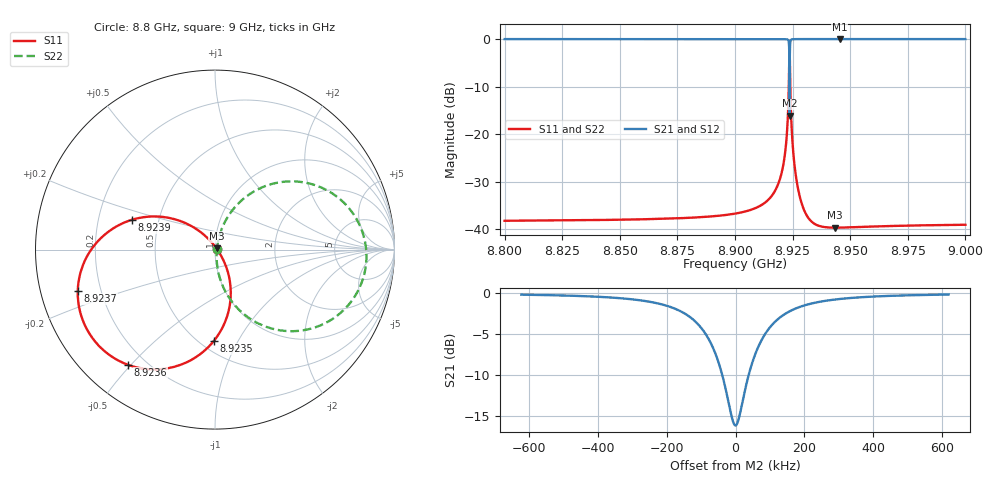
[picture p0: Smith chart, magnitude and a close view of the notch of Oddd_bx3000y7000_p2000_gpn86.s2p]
! Sonnet Data File
! From: emgraph Version : 16.52
! From Project: Resonator2_cp
! Data is De-embedded
! Data File Written: 10/06/2017 13:30:08
!< HDATE 10/06/2017 09:06:26
!< MDATE 10/06/2017 09:06:26
!< PARAMS
!< gap = 86.0
!< Length = 400.0
!< Pwid1 = 2000.0
!< Pwid2 = 2000.0
!< END PARAMS
# GHZ S MA R 35.97000
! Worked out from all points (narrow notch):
!   1595 points, 8.8 GHz to 9 GHz, reference 35.97 ohm
!   highest |S21| = 0.00 dB at 8.9454 GHz (marker M1); lowest = -16.1 dB at 8.9237 GHz (marker M2)
!   notch at M2: 16.1 dB deep, 105 kHz wide at half that depth
!   lowest |S11| = -39.6 dB at 8.9432 GHz (marker M3), VSWR 1.02, Z = 36.6 + j0.449 ohm
!   |S11| at or under -10 dB: start of sweep to 8.9233 GHz; 8.924 GHz to end of sweep
!   |S22| runs from -39.6 to -1.5 dB; largest |S21 - S12| = 0
!   S11 on the Smith chart (normalised r, x): 8.8 GHz: 1.02, +0.00; 8.9235 GHz: 0.58, -0.80; 8.9236 GHz: 0.13, -0.49; 8.9237 GHz: 0.11, -0.14; 8.9239 GHz: 0.35, +0.15; 9 GHz: 1.02, +0.01
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8.8  0.01234 4.6  0.9999 -74.2  0.9999 -74.2  0.01234 27.1
!< P1 F=8.8 Eeff=(5.36817953 -2.3731e-5) Z0=(35.9853883 8.0522e-5) R=0.0 C=0.0
!< P2 F=8.8 Eeff=(5.36817953 -2.3731e-5) Z0=(35.9853883 8.0522e-5) R=0.0 C=0.0
8.8334  0.0125 2.9  0.9999 -74.5  0.9999 -74.5  0.0125 28.1
8.8668  0.0129 -0.2  0.9999 -74.8  0.9999 -74.8  0.0129 30.6
8.9  0.01466 -9.5  0.9999 -75.2  0.9999 -75.2  0.01467 39.0
8.9128  0.01895 -22.0  0.9998 -75.7  0.9998 -75.7  0.01897 50.6
8.918976  0.03103 -36.8  0.9994 -76.5  0.9994 -76.5  0.0311 63.4
8.922184  0.08026 -52.4  0.9957 -79.4  0.9957 -79.4  0.08053 72.2
8.923142  0.2058 -65.8  0.9709 -86.7  0.9709 -86.7  0.2066 68.1
8.923505  0.5078 -90.6  0.8044 -105.2  0.8044 -105.2  0.5097 47.0
8.92364  0.8044 -127.1  0.3328 -121.0  0.3328 -121.0  0.8075 12.0
8.923682  0.8421 -144.7  0.1563 -74.5  0.1563 -74.5  0.8454 -5.2
8.923726  0.7982 -163.3  0.35 -28.5  0.35 -28.5  0.8013 -23.3
8.923864  0.491 160.2  0.8165 -45.6  0.8165 -45.6  0.4929 -58.3
8.924108  0.2445 140.0  0.9575 -60.7  0.9575 -60.7  0.2455 -75.8
8.924621  0.1124 127.9  0.991 -68.4  0.991 -68.4  0.1129 -82.1
8.92642  0.03656 111.3  0.999 -72.9  0.999 -72.9  0.03673 -76.1
8.929211  0.01791 90.8  0.9998 -74.1  0.9998 -74.1  0.018 -58.5
8.933356  0.01201 65.4  0.9999 -74.6  0.9999 -74.6  0.01205 -34.5
8.9432  0.01044 36.0  0.9999 -75.0  0.9999 -75.0  0.01045 -6.0
8.9454  0.01045 32.8  0.9999 -75.1  0.9999 -75.1  0.01046 -2.9
8.9668  0.01085 18.9  0.9999 -75.4  0.9999 -75.4  0.01085 10.4
9  0.0112 12.9  0.9999 -75.7  0.9999 -75.7  0.0112 15.6
